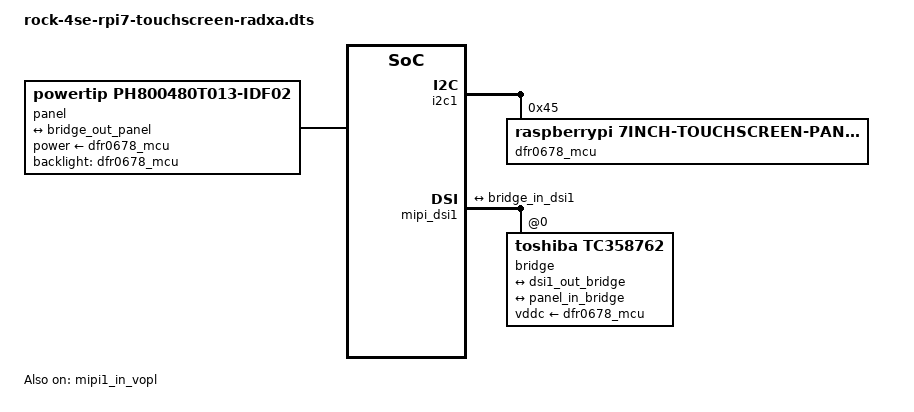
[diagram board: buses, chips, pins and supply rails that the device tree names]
// SPDX-License-Identifier: (GPL-2.0+ OR MIT)
/*
 * Raspberry Pi 7" Touchscreen Support for Radxa Rock Pi 4SE
 *
 * This overlay enables the Raspberry Pi 7" touchscreen (DFR0678) on the Radxa
 * Rock Pi 4SE using:
 * - The RK3399 DSI1 controller (mipi_dsi1) connected via MIPI connector J8204
 * - VOPL (Video Output Processor Lite) routed to DSI1
 * - Toshiba TC358762 DSI-to-DPI bridge with Radxa + RPi optimizations
 * - Powertip PH800480T013-IDF02 panel descriptor
 * - ATTiny85 MCU for power sequencing and backlight control
 *
 * Requirements:
 * - Kernel patch: tc358762-rpi7-touchscreen-radxa.patch
 * - The dfr0678-radxa-timing.patch to set the Powertip panel mode
 * - Armbian 6.18.60-current kernel with CONFIG_DRM_TOSHIBA_TC358762 enabled
 *
 * Do not load with multiple overlays claiming I2C1 address 0x45.
 */

/dts-v1/;
/plugin/;

&{/} {
	panel {
		compatible = "powertip,ph800480t013-idf02";
		power-supply = <&dfr0678_mcu>;
		backlight = <&dfr0678_mcu>;

		port {
			panel_in_bridge: endpoint {
				remote-endpoint = <&bridge_out_panel>;
			};
		};
	};
};

&i2c1 {
	#address-cells = <1>;
	#size-cells = <0>;
	status = "okay";

	dfr0678_mcu: regulator@45 {
		compatible = "raspberrypi,7inch-touchscreen-panel-regulator";
		reg = <0x45>;
	};
};

/* Route DSI1 through VOPL (Video Output Processor Lite) */
&mipi1_in_vopb {
	status = "disabled";
};

&mipi1_in_vopl {
	status = "okay";
};

/* Configure DSI1 with TC358762 bridge and RPi 7" panel */
&mipi_dsi1 {
	#address-cells = <1>;
	#size-cells = <0>;
	status = "okay";
	
	/* DSI0 supplies the shared PHY PLL while staying disabled */
	rockchip,dsi-dsi0 = <&mipi_dsi>;
	
	/* Lane rate optimized for Radxa Rock 4SE + TC358762 + RPi 7" panel */
	rockchip,lane-rate = <696>;

	bridge@0 {
		compatible = "toshiba,tc358762";
		reg = <0>;
		vddc-supply = <&dfr0678_mcu>;
		
		/* Enable the Radxa + RPi 7" touchscreen optimized init sequence */
		toshiba,radxa-rpi7-init;

		ports {
			#address-cells = <1>;
			#size-cells = <0>;

			/* DSI1 input port */
			port@0 {
				reg = <0>;

				bridge_in_dsi1: endpoint {
					remote-endpoint = <&dsi1_out_bridge>;
				};
			};

			/* DPI output port to panel */
			port@1 {
				reg = <1>;

				bridge_out_panel: endpoint {
					remote-endpoint = <&panel_in_bridge>;
				};
			};
		};
	};

	/* DSI1 output endpoint */
	ports {
		#address-cells = <1>;
		#size-cells = <0>;

		port@1 {
			reg = <1>;

			dsi1_out_bridge: endpoint {
				remote-endpoint = <&bridge_in_dsi1>;
			};
		};
	};
};
